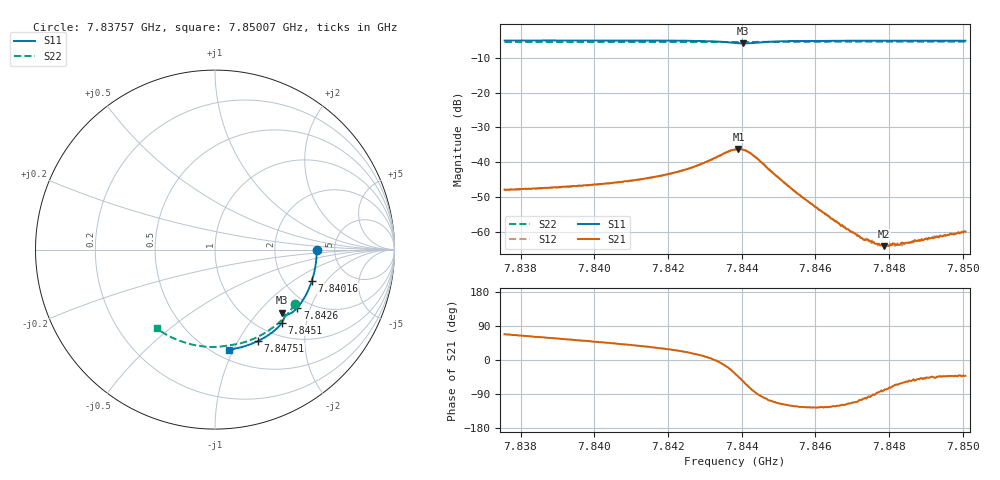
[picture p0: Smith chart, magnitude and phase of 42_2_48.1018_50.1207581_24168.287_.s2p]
#  HZ  S  RI  R  50.00
! Rohde & Schwarz Vector Network Analyzer
! Rohde-Schwarz,ZNB20-2Port,1311601062101988,3.16
! Created: UTC 12/23/2023, 3:38:49 AM
! freq[Hz]  re:S11  im:S11  re:S21  im:S21  re:S12  im:S12  re:S22  im:S22
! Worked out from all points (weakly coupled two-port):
!   401 points, 7.83757 GHz to 7.85007 GHz, reference 50 ohm
!   highest |S21| = -36.19 dB at 7.84391 GHz (marker M1); lowest = -64.2 dB at 7.84785 GHz (marker M2)
!   lowest |S11| = -5.8 dB at 7.84404 GHz (marker M3), VSWR 3.11, Z = 71.6 - j68.3 ohm
!   |S11| at or under -10 dB: nowhere
!   |S22| runs from -5.4 to -5.2 dB; largest |S21 - S12| = 0.00028
!   S11 on the Smith chart (normalised r, x): 7.83757 GHz: 3.61, -0.03; 7.84016 GHz: 2.80, -1.44; 7.8426 GHz: 1.72, -1.63; 7.8451 GHz: 1.24, -1.46; 7.84751 GHz: 0.82, -1.22; 7.85007 GHz: 0.59, -0.96
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7.837569e9  0.5665 -0.00301  0.00153 0.00373  0.00152 0.00364  0.446 -0.3043
7.839662e9  0.5493 -0.1413  0.00288 0.00357  0.00285 0.00356  0.3487 -0.4134
7.840162e9  0.5398 -0.1736  0.0033 0.00353  0.00327 0.00353  0.3212 -0.4352
7.841756e9  0.4948 -0.2737  0.00539 0.00329  0.00538 0.00328  0.225 -0.4924
7.8426e9  0.459 -0.3236  0.0078 0.00265  0.00772 0.00267  0.1698 -0.5142
7.84335e9  0.4117 -0.3601  0.0121 -0.000837  0.0121 -0.000679  0.1186 -0.5274
7.843819e9  0.3776 -0.3588  0.0124 -0.00884  0.0123 -0.00884  0.0871 -0.5321
7.843912e9  0.3748 -0.3553  0.0111 -0.0108  0.0111 -0.0107  0.0813 -0.5329
7.844037e9  0.3749 -0.351  0.00842 -0.0125  0.00842 -0.0127  0.0735 -0.5339
7.84435e9  0.3847 -0.3557  0.00118 -0.0121  0.0012 -0.012  0.0535 -0.5377
7.8451e9  0.3726 -0.4068  -0.00238 -0.00479  -0.00238 -0.00483  0.00114 -0.5427
7.845912e9  0.3324 -0.4502  -0.00144 -0.00201  -0.00142 -0.00202  -0.0563 -0.5409
7.846912e9  0.2755 -0.4902  -0.000443 -0.000945  -0.000427 -0.000975  -0.1258 -0.5297
7.847287e9  0.2532 -0.5025  -0.000163 -0.000766  -0.000185 -0.000758  -0.1514 -0.5232
7.847506e9  0.2398 -0.5091  -6.81e-05 -0.000722  -5.04e-05 -0.000689  -0.166 -0.5188
7.847725e9  0.2264 -0.5154  6.23e-05 -0.000666  1.91e-05 -0.000645  -0.1804 -0.5141
7.84785e9  0.2188 -0.5188  0.0001 -0.000609  0.000113 -0.000644  -0.1888 -0.5112
7.848006e9  0.209 -0.5227  0.000191 -0.000592  0.00016 -0.000604  -0.1992 -0.5073
7.848412e9  0.1835 -0.5323  0.000345 -0.000568  0.000337 -0.000596  -0.2254 -0.4964
7.849162e9  0.1355 -0.5462  0.000594 -0.000571  0.000565 -0.000584  -0.2725 -0.4728
7.849943e9  0.0843 -0.5563  0.000724 -0.000642  0.000746 -0.000659  -0.3187 -0.4434
7.850068e9  0.0761 -0.5575  0.000749 -0.000667  0.000731 -0.000634  -0.3258 -0.4384
